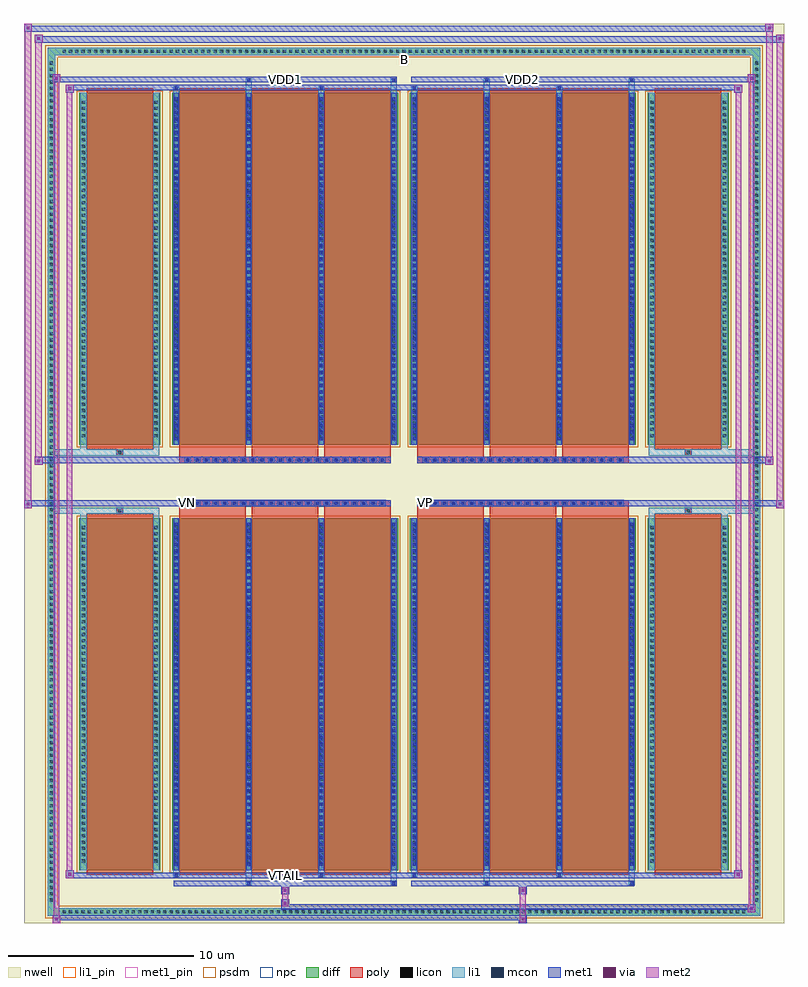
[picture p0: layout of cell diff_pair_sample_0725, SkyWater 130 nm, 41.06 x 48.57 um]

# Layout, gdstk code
import gdstk
lib = gdstk.Library(unit=1e-6, precision=5e-09)
def R(c, l, rs):  # rectangles x0, y0, x1, y1
    for r in rs: c.add(gdstk.rectangle(r[:2], r[2:], *l))
def A(c, l, x, y, w, h, nx, ny, dx, dy):  # array of equal rectangles
    R(c, l, [(x+i*dx, y+j*dy, x+i*dx+w, y+j*dy+h) for i in range(nx) for j in range(ny)])
def P(c, l, *ps):  # polygons
    for p in ps: c.add(gdstk.Polygon(p, *l))
nwell = (64, 20)
diff = (65, 20)
poly = (66, 20)
licon = (66, 44)
li1_pin = (67, 16)
li1 = (67, 20)
mcon = (67, 44)
met1_pin = (68, 16)
met1 = (68, 20)
via = (68, 44)
met2 = (69, 20)
psdm = (94, 20)
npc = (95, 20)

diff_pair_sample_0725 = lib.new_cell('diff_pair_sample_0725')
R(diff_pair_sample_0725, nwell, [(-20.53,-23.85,20.53,24.72), (-17.85,-22.04,-0.01,-0.8), (0.01,-22.04,17.85,-0.8), (-17.85,0.8,-0.01,22.04), (0.01,0.8,17.85,22.04)])
A(diff_pair_sample_0725, diff, -18.565, -23.45, 0.41, 0.41, 109, 2, 0.34, 46.49)
A(diff_pair_sample_0725, diff, -19.26, -22.815, 0.41, 0.41, 1, 134, 0, 0.34)
A(diff_pair_sample_0725, diff, 18.85, -22.815, 0.41, 0.41, 1, 134, 0, 0.34)
R(diff_pair_sample_0725, diff, [(-18.565,-23.45,18.565,-23.04), (-19.26,-22.815,-18.85,22.815), (18.85,-22.815,19.26,22.815), (-17.54,-20.995,-13.17,-1.985), (-12.53,-20.995,-0.32,-1.985), (0.32,-20.995,12.53,-1.985), (13.17,-20.995,17.54,-1.985), (-17.54,1.985,-13.17,20.995), (-12.53,1.985,-0.32,20.995), (0.32,1.985,12.53,20.995), (13.17,1.985,17.54,20.995), (-18.565,23.04,18.565,23.45)])
P(diff_pair_sample_0725, diff, [(19.26,23.45),(-19.26,23.45),(-19.26,-23.04),(-18.85,-23.04),(-18.85,23.04),(18.85,23.04),(18.85,-23.04),(-18.85,-23.04),(-19.26,-23.04),(-19.26,-23.45),(19.26,-23.45)])
A(diff_pair_sample_0725, poly, -12.14, -21.245, 3.59, 19.51, 3, 2, 3.92, 22.98)
A(diff_pair_sample_0725, poly, 0.71, -21.245, 3.59, 19.51, 3, 2, 3.92, 22.98)
A(diff_pair_sample_0725, poly, -12.14, -1.735, 3.59, 0.405, 3, 2, 3.92, 3.065)
A(diff_pair_sample_0725, poly, 0.71, -1.735, 3.59, 0.405, 3, 2, 3.92, 3.065)
A(diff_pair_sample_0725, poly, -11.84, -1.33, 0.33, 0.33, 22, 2, 0.5, 2.33)
A(diff_pair_sample_0725, poly, 1.01, -1.33, 0.33, 0.33, 22, 2, 0.5, 2.33)
R(diff_pair_sample_0725, poly, [(-17.15,-21.245,-13.56,-1.735), (13.56,-21.245,17.15,-1.735), (-15.52,-1.735,-15.19,-1.405), (-15.52,-1.735,-15.19,-1.405), (15.19,-1.735,15.52,-1.405), (15.19,-1.735,15.52,-1.405), (-12.14,-1.33,-0.71,-1), (0.71,-1.33,12.14,-1), (-12.14,1,-0.71,1.33), (0.71,1,12.14,1.33), (-15.52,1.405,-15.19,1.735), (-15.52,1.405,-15.19,1.735), (15.19,1.405,15.52,1.735), (15.19,1.405,15.52,1.735), (-17.15,1.735,-13.56,21.245), (13.56,1.735,17.15,21.245)])
A(diff_pair_sample_0725, licon, -18.445, -23.33, 0.17, 0.17, 109, 2, 0.34, 46.49)
A(diff_pair_sample_0725, licon, -19.14, -22.695, 0.17, 0.17, 1, 134, 0, 0.34)
A(diff_pair_sample_0725, licon, 18.97, -22.695, 0.17, 0.17, 1, 134, 0, 0.34)
A(diff_pair_sample_0725, licon, -17.4, -20.585, 0.17, 0.17, 1, 54, 0, 0.34)
A(diff_pair_sample_0725, licon, -13.48, -20.585, 0.17, 0.17, 1, 54, 0, 0.34)
A(diff_pair_sample_0725, licon, -12.39, -20.585, 0.17, 0.17, 4, 54, 3.92, 0.34)
A(diff_pair_sample_0725, licon, 0.46, -20.585, 0.17, 0.17, 4, 54, 3.92, 0.34)
A(diff_pair_sample_0725, licon, 13.31, -20.585, 0.17, 0.17, 1, 54, 0, 0.34)
A(diff_pair_sample_0725, licon, 17.23, -20.585, 0.17, 0.17, 1, 54, 0, 0.34)
A(diff_pair_sample_0725, licon, -11.76, -1.25, 0.17, 0.17, 22, 2, 0.5, 2.33)
A(diff_pair_sample_0725, licon, 1.09, -1.25, 0.17, 0.17, 22, 2, 0.5, 2.33)
A(diff_pair_sample_0725, licon, -17.4, 2.395, 0.17, 0.17, 1, 54, 0, 0.34)
A(diff_pair_sample_0725, licon, -13.48, 2.395, 0.17, 0.17, 1, 54, 0, 0.34)
A(diff_pair_sample_0725, licon, -12.39, 2.395, 0.17, 0.17, 4, 54, 3.92, 0.34)
A(diff_pair_sample_0725, licon, 0.46, 2.395, 0.17, 0.17, 4, 54, 3.92, 0.34)
A(diff_pair_sample_0725, licon, 13.31, 2.395, 0.17, 0.17, 1, 54, 0, 0.34)
A(diff_pair_sample_0725, licon, 17.23, 2.395, 0.17, 0.17, 1, 54, 0, 0.34)
R(diff_pair_sample_0725, licon, [(-15.44,-1.655,-15.27,-1.485), (15.27,-1.655,15.44,-1.485), (-15.44,1.485,-15.27,1.655), (15.27,1.485,15.44,1.655)])
R(diff_pair_sample_0725, li1_pin, [(-0.25,22.54,0.25,23.04)])
A(diff_pair_sample_0725, li1, -18.525, -23.41, 0.33, 0.33, 109, 2, 0.34, 46.49)
A(diff_pair_sample_0725, li1, -19.22, -22.775, 0.33, 0.33, 1, 134, 0, 0.34)
A(diff_pair_sample_0725, li1, 18.89, -22.775, 0.33, 0.33, 1, 134, 0, 0.34)
A(diff_pair_sample_0725, li1, -12.47, -20.995, 0.33, 19.01, 4, 2, 3.92, 22.98)
A(diff_pair_sample_0725, li1, 0.38, -20.995, 0.33, 19.01, 4, 2, 3.92, 22.98)
A(diff_pair_sample_0725, li1, -12.39, -20.755, 0.17, 0.17, 4, 52, 3.92, 0.36)
A(diff_pair_sample_0725, li1, -12.39, -20.755, 0.17, 18.53, 4, 2, 3.92, 22.98)
A(diff_pair_sample_0725, li1, 0.46, -20.755, 0.17, 0.17, 4, 52, 3.92, 0.36)
A(diff_pair_sample_0725, li1, 0.46, -20.755, 0.17, 18.53, 4, 2, 3.92, 22.98)
A(diff_pair_sample_0725, li1, -17.48, -20.665, 0.33, 0.33, 1, 54, 0, 0.34)
A(diff_pair_sample_0725, li1, -13.56, -20.665, 0.33, 0.33, 1, 54, 0, 0.34)
A(diff_pair_sample_0725, li1, -12.47, -20.665, 0.33, 0.33, 4, 54, 3.92, 0.34)
A(diff_pair_sample_0725, li1, 0.38, -20.665, 0.33, 0.33, 4, 54, 3.92, 0.34)
A(diff_pair_sample_0725, li1, 13.23, -20.665, 0.33, 0.33, 1, 54, 0, 0.34)
A(diff_pair_sample_0725, li1, 17.15, -20.665, 0.33, 0.33, 1, 54, 0, 0.34)
A(diff_pair_sample_0725, li1, -11.84, -1.33, 0.33, 0.33, 22, 2, 0.5, 2.33)
A(diff_pair_sample_0725, li1, 1.01, -1.33, 0.33, 0.33, 22, 2, 0.5, 2.33)
A(diff_pair_sample_0725, li1, -12.39, 2.225, 0.17, 0.17, 4, 52, 3.92, 0.36)
A(diff_pair_sample_0725, li1, 0.46, 2.225, 0.17, 0.17, 4, 52, 3.92, 0.36)
A(diff_pair_sample_0725, li1, -17.48, 2.315, 0.33, 0.33, 1, 54, 0, 0.34)
A(diff_pair_sample_0725, li1, -13.56, 2.315, 0.33, 0.33, 1, 54, 0, 0.34)
A(diff_pair_sample_0725, li1, -12.47, 2.315, 0.33, 0.33, 4, 54, 3.92, 0.34)
A(diff_pair_sample_0725, li1, 0.38, 2.315, 0.33, 0.33, 4, 54, 3.92, 0.34)
A(diff_pair_sample_0725, li1, 13.23, 2.315, 0.33, 0.33, 1, 54, 0, 0.34)
A(diff_pair_sample_0725, li1, 17.15, 2.315, 0.33, 0.33, 1, 54, 0, 0.34)
R(diff_pair_sample_0725, li1, [(-19.26,-23.45,-18.85,-23.04), (-19.26,-23.45,-18.85,-23.04), (-18.85,-23.45,18.85,-23.04), (18.85,-23.45,19.26,-23.04), (18.85,-23.45,19.26,-23.04), (-19.26,-23.04,-18.85,23.04), (18.85,-23.04,19.26,23.04), (-8.55,-21.8,-8.22,-20.995), (-8.47,-21.8,-8.3,-21.63), (-0.71,-21.8,-0.38,-20.995), (-0.63,-21.8,-0.46,-21.63), (4.3,-21.8,4.63,-20.995), (4.38,-21.8,4.55,-21.63), (12.14,-21.8,12.47,-20.995), (12.22,-21.8,12.39,-21.63), (-12.47,-21.37,-12.14,-20.995), (-12.39,-21.37,-12.22,-21.2), (-4.63,-21.37,-4.3,-20.995), (-4.55,-21.37,-4.38,-21.2), (0.38,-21.37,0.71,-20.995), (0.46,-21.37,0.63,-21.2), (8.22,-21.37,8.55,-20.995), (8.3,-21.37,8.47,-21.2), (-17.48,-20.995,-17.15,-1.985), (-13.56,-20.995,-13.23,-1.985), (13.23,-20.995,13.56,-1.985), (17.15,-20.995,17.48,-1.985), (-17.48,-1.985,-17.15,-1.405), (-13.56,-1.985,-13.23,-1.405), (13.23,-1.985,13.56,-1.405), (17.15,-1.985,17.48,-1.405), (-19.26,-1.735,-15.52,-1.405), (-17.48,-1.735,-15.52,-1.405), (-15.52,-1.735,-15.19,-1.405), (-15.19,-1.735,-13.23,-1.405), (13.23,-1.735,15.19,-1.405), (15.19,-1.735,15.52,-1.405), (15.19,-1.735,19.26,-1.405), (15.52,-1.735,17.48,-1.405), (-19.26,1.405,-15.52,1.735), (-17.48,1.405,-15.52,1.735), (-17.48,1.405,-17.15,1.985), (-15.52,1.405,-15.19,1.735), (-15.19,1.405,-13.23,1.735), (-13.56,1.405,-13.23,1.985), (13.23,1.405,15.19,1.735), (13.23,1.405,13.56,1.985), (15.19,1.405,15.52,1.735), (15.19,1.405,19.26,1.735), (15.52,1.405,17.48,1.735), (17.15,1.405,17.48,1.985), (-17.48,1.985,-17.15,20.995), (-13.56,1.985,-13.23,20.995), (13.23,1.985,13.56,20.995), (17.15,1.985,17.48,20.995), (-12.47,20.995,-12.14,21.37), (-8.55,20.995,-8.22,21.8), (-4.63,20.995,-4.3,21.37), (-0.71,20.995,-0.38,21.8), (0.38,20.995,0.71,21.37), (4.3,20.995,4.63,21.8), (8.22,20.995,8.55,21.37), (12.14,20.995,12.47,21.8), (-12.39,21.2,-12.22,21.37), (-4.55,21.2,-4.38,21.37), (0.46,21.2,0.63,21.37), (8.3,21.2,8.47,21.37), (-8.47,21.63,-8.3,21.8), (-0.63,21.63,-0.46,21.8), (4.38,21.63,4.55,21.8), (12.22,21.63,12.39,21.8), (-19.26,23.04,-18.85,23.45), (-19.26,23.04,-18.85,23.45), (-18.85,23.04,18.85,23.45), (18.85,23.04,19.26,23.45), (18.85,23.04,19.26,23.45)])
A(diff_pair_sample_0725, mcon, -12.39, -20.755, 0.17, 0.17, 4, 52, 3.92, 0.36)
A(diff_pair_sample_0725, mcon, 0.46, -20.755, 0.17, 0.17, 4, 52, 3.92, 0.36)
A(diff_pair_sample_0725, mcon, -11.76, -1.25, 0.17, 0.17, 22, 2, 0.5, 2.33)
A(diff_pair_sample_0725, mcon, 1.09, -1.25, 0.17, 0.17, 22, 2, 0.5, 2.33)
A(diff_pair_sample_0725, mcon, -12.39, 2.225, 0.17, 0.17, 4, 52, 3.92, 0.36)
A(diff_pair_sample_0725, mcon, 0.46, 2.225, 0.17, 0.17, 4, 52, 3.92, 0.36)
R(diff_pair_sample_0725, mcon, [(-8.47,-21.8,-8.3,-21.63), (-0.63,-21.8,-0.46,-21.63), (4.38,-21.8,4.55,-21.63), (12.22,-21.8,12.39,-21.63), (-12.39,-21.37,-12.22,-21.2), (-4.55,-21.37,-4.38,-21.2), (0.46,-21.37,0.63,-21.2), (8.3,-21.37,8.47,-21.2), (-12.39,21.2,-12.22,21.37), (-4.55,21.2,-4.38,21.37), (0.46,21.2,0.63,21.37), (8.3,21.2,8.47,21.37), (-8.47,21.63,-8.3,21.8), (-0.63,21.63,-0.46,21.8), (4.38,21.63,4.55,21.8), (12.22,21.63,12.39,21.8)])
R(diff_pair_sample_0725, met1_pin, [(-6.56,-21.41,-6.29,-21.14), (-11.81,-1.29,-11.54,-1.02), (1.04,-1.29,1.31,-1.02), (-6.56,21.59,-6.29,21.86), (6.29,21.59,6.56,21.86)])
A(diff_pair_sample_0725, met1, -12.45, -20.995, 0.29, 19.01, 4, 2, 3.92, 22.98)
A(diff_pair_sample_0725, met1, 0.4, -20.995, 0.29, 19.01, 4, 2, 3.92, 22.98)
A(diff_pair_sample_0725, met1, -12.45, -20.815, 0.29, 0.29, 4, 52, 3.92, 0.36)
A(diff_pair_sample_0725, met1, 0.4, -20.815, 0.29, 0.29, 4, 52, 3.92, 0.36)
A(diff_pair_sample_0725, met1, -11.82, -1.31, 0.29, 0.29, 22, 2, 0.5, 2.33)
A(diff_pair_sample_0725, met1, 1.03, -1.31, 0.29, 0.29, 22, 2, 0.5, 2.33)
A(diff_pair_sample_0725, met1, -12.45, 2.165, 0.29, 0.29, 4, 52, 3.92, 0.36)
A(diff_pair_sample_0725, met1, 0.4, 2.165, 0.29, 0.29, 4, 52, 3.92, 0.36)
R(diff_pair_sample_0725, met1, [(-18.99,-23.85,-18.56,-23.42), (6.21,-23.85,6.64,-23.42), (-18.99,-23.71,6.64,-23.42), (18.56,-23.28,18.99,-22.85), (-6.64,-23.14,18.99,-22.85), (-6.64,-23,-6.21,-22.57), (-6.64,-22.29,-6.21,-21.86), (6.21,-22.29,6.64,-21.86), (-12.45,-21.86,-0.4,-21.57), (-8.53,-21.86,-8.24,-21.57), (-0.69,-21.86,-0.4,-21.57), (0.4,-21.86,12.45,-21.57), (4.32,-21.86,4.61,-21.57), (12.16,-21.86,12.45,-21.57), (-18.28,-21.43,-17.85,-21), (-18.28,-21.43,-12.45,-21.14), (-12.45,-21.43,-12.16,-21.14), (-12.45,-21.43,-0.4,-21.14), (-4.61,-21.43,-4.32,-21.14), (-0.4,-21.43,0.4,-21.14), (0.4,-21.43,0.69,-21.14), (0.4,-21.43,12.45,-21.14), (8.24,-21.43,8.53,-21.14), (12.45,-21.43,18.28,-21.14), (17.85,-21.43,18.28,-21), (-20.53,-1.43,-20.1,-1), (20.1,-1.43,20.53,-1), (-20.53,-1.33,-0.71,-1), (-12.14,-1.33,-0.71,-1), (0.71,-1.33,12.14,-1), (0.71,-1.33,20.53,-1), (-19.96,0.9,-19.53,1.33), (19.53,0.9,19.96,1.33), (-19.96,1,-12.14,1.33), (-12.14,1,-0.71,1.33), (0.71,1,12.14,1.33), (12.14,1,19.96,1.33), (-18.28,21,-17.85,21.43), (17.85,21,18.28,21.43), (-18.28,21.14,-12.45,21.43), (-12.45,21.14,-12.16,21.43), (-12.45,21.14,-0.4,21.43), (-4.61,21.14,-4.32,21.43), (-0.4,21.14,0.4,21.43), (0.4,21.14,0.69,21.43), (0.4,21.14,12.45,21.43), (8.24,21.14,8.53,21.43), (12.45,21.14,18.28,21.43), (-18.99,21.57,-18.56,22), (-18.99,21.57,-12.45,21.86), (-12.45,21.57,-0.4,21.86), (-8.53,21.57,-8.24,21.86), (-0.69,21.57,-0.4,21.86), (0.4,21.57,12.45,21.86), (4.32,21.57,4.61,21.86), (12.16,21.57,12.45,21.86), (12.45,21.57,18.99,21.86), (18.56,21.57,18.99,22), (-19.96,23.72,-19.53,24.15), (-19.96,23.72,-17.85,24.05), (-17.85,23.72,17.85,24.05), (17.85,23.72,20.53,24.05), (20.1,23.72,20.53,24.15), (-20.53,24.29,-20.1,24.72), (-20.53,24.29,-17.85,24.62), (-17.85,24.29,17.85,24.62), (17.85,24.29,19.96,24.62), (19.53,24.29,19.96,24.72)])
R(diff_pair_sample_0725, via, [(-18.85,-23.71,-18.7,-23.56), (6.35,-23.71,6.5,-23.56), (18.7,-23.14,18.85,-22.99), (-6.5,-22.86,-6.35,-22.71), (-6.5,-22.15,-6.35,-22), (6.35,-22.15,6.5,-22), (-18.14,-21.29,-17.99,-21.14), (17.99,-21.29,18.14,-21.14), (-20.39,-1.29,-20.24,-1.14), (20.24,-1.29,20.39,-1.14), (-19.82,1.04,-19.67,1.19), (19.67,1.04,19.82,1.19), (-18.14,21.14,-17.99,21.29), (17.99,21.14,18.14,21.29), (-18.85,21.71,-18.7,21.86), (18.7,21.71,18.85,21.86), (-19.82,23.86,-19.67,24.01), (20.24,23.86,20.39,24.01), (-20.39,24.43,-20.24,24.58), (19.67,24.43,19.82,24.58)])
R(diff_pair_sample_0725, met2, [(-18.99,-23.85,-18.56,-23.42), (-18.92,-23.85,-18.63,22), (-18.63,-23.85,-18.56,-23.42), (-18.94,-23.8,-18.61,-23.47), (6.26,-23.8,6.59,-23.47), (6.26,-23.47,6.59,-22.24), (18.56,-23.28,18.99,-22.85), (18.63,-23.28,18.92,22), (18.92,-23.28,18.99,-22.85), (18.61,-23.23,18.94,-22.9), (-6.59,-22.95,-6.26,-22.62), (-6.59,-22.62,-6.26,-22.24), (-6.59,-22.24,-6.26,-21.91), (6.26,-22.24,6.59,-21.91), (-18.28,-21.43,-17.85,-21), (-18.21,-21.43,-17.92,21.43), (-17.92,-21.43,-17.85,-21), (17.85,-21.43,18.28,-21), (17.92,-21.43,18.21,21.43), (18.21,-21.43,18.28,-21), (-18.23,-21.38,-17.9,-21.05), (17.9,-21.38,18.23,-21.05), (-20.53,-1.43,-20.1,-1), (-20.48,-1.43,-20.15,24.72), (-20.15,-1.43,-20.1,-1), (20.1,-1.43,20.53,-1), (20.15,-1.43,20.48,24.15), (20.48,-1.43,20.53,-1), (-20.48,-1.38,-20.15,-1.05), (20.15,-1.38,20.48,-1.05), (-19.96,0.9,-19.53,1.33), (-19.91,0.9,-19.58,24.15), (-19.58,0.9,-19.53,1.33), (19.53,0.9,19.96,1.33), (19.58,0.9,19.91,24.72), (19.91,0.9,19.96,1.33), (-19.91,0.95,-19.58,1.28), (19.58,0.95,19.91,1.28), (-18.28,21,-17.85,21.43), (-17.92,21,-17.85,21.43), (17.85,21,18.28,21.43), (18.21,21,18.28,21.43), (-18.23,21.05,-17.9,21.38), (17.9,21.05,18.23,21.38), (-18.99,21.57,-18.56,22), (-18.63,21.57,-18.56,22), (18.56,21.57,18.99,22), (18.92,21.57,18.99,22), (-18.94,21.62,-18.61,21.95), (18.61,21.62,18.94,21.95), (-19.96,23.72,-19.53,24.15), (-19.58,23.72,-19.53,24.15), (20.1,23.72,20.53,24.15), (20.48,23.72,20.53,24.15), (-19.91,23.77,-19.58,24.1), (20.15,23.77,20.48,24.1), (-20.53,24.29,-20.1,24.72), (-20.15,24.29,-20.1,24.72), (19.53,24.29,19.96,24.72), (19.91,24.29,19.96,24.72), (-20.48,24.34,-20.15,24.67), (19.58,24.34,19.91,24.67)])
R(diff_pair_sample_0725, psdm, [(-17.67,-21.125,-13.04,-1.855), (-12.66,-21.125,-0.19,-1.855), (0.19,-21.125,12.66,-1.855), (13.04,-21.125,17.67,-1.855), (-17.67,1.855,-13.04,21.125), (-12.66,1.855,-0.19,21.125), (0.19,1.855,12.66,21.125), (13.04,1.855,17.67,21.125)])
P(diff_pair_sample_0725, psdm, [(19.39,23.58),(-19.39,23.58),(-19.39,-22.91),(-18.72,-22.91),(-18.72,22.91),(18.72,22.91),(18.72,-22.91),(-18.72,-22.91),(-19.39,-22.91),(-19.39,-23.58),(19.39,-23.58)])
A(diff_pair_sample_0725, npc, -11.86, -1.35, 0.37, 0.37, 22, 2, 0.5, 2.33)
A(diff_pair_sample_0725, npc, 0.99, -1.35, 0.37, 0.37, 22, 2, 0.5, 2.33)
R(diff_pair_sample_0725, npc, [(-15.54,-1.755,-15.17,-1.385), (15.17,-1.755,15.54,-1.385), (-11.86,-1.35,-10.99,-0.98), (-11.86,-1.35,-10.99,-0.98), (-11.36,-1.35,-10.49,-0.98), (-11.36,-1.35,-10.49,-0.98), (-10.86,-1.35,-9.99,-0.98), (-10.86,-1.35,-9.99,-0.98), (-10.36,-1.35,-9.49,-0.98), (-10.36,-1.35,-9.49,-0.98), (-9.86,-1.35,-8.99,-0.98), (-9.86,-1.35,-8.99,-0.98), (-9.36,-1.35,-8.49,-0.98), (-9.36,-1.35,-8.49,-0.98), (-8.86,-1.35,-7.99,-0.98), (-8.86,-1.35,-7.99,-0.98), (-8.36,-1.35,-7.49,-0.98), (-8.36,-1.35,-7.49,-0.98), (-7.86,-1.35,-6.99,-0.98), (-7.86,-1.35,-6.99,-0.98), (-7.36,-1.35,-6.49,-0.98), (-7.36,-1.35,-6.49,-0.98), (-6.86,-1.35,-5.99,-0.98), (-6.86,-1.35,-5.99,-0.98), (-6.36,-1.35,-5.49,-0.98), (-6.36,-1.35,-5.49,-0.98), (-5.86,-1.35,-4.99,-0.98), (-5.86,-1.35,-4.99,-0.98), (-5.36,-1.35,-4.49,-0.98), (-5.36,-1.35,-4.49,-0.98), (-4.86,-1.35,-3.99,-0.98), (-4.86,-1.35,-3.99,-0.98), (-4.36,-1.35,-3.49,-0.98), (-4.36,-1.35,-3.49,-0.98), (-3.86,-1.35,-2.99,-0.98), (-3.86,-1.35,-2.99,-0.98), (-3.36,-1.35,-2.49,-0.98), (-3.36,-1.35,-2.49,-0.98), (-2.86,-1.35,-1.99,-0.98), (-2.86,-1.35,-1.99,-0.98), (-2.36,-1.35,-1.49,-0.98), (-2.36,-1.35,-1.49,-0.98), (-1.86,-1.35,-0.99,-0.98), (-1.86,-1.35,-0.99,-0.98), (0.99,-1.35,1.86,-0.98), (0.99,-1.35,1.86,-0.98), (1.49,-1.35,2.36,-0.98), (1.49,-1.35,2.36,-0.98), (1.99,-1.35,2.86,-0.98), (1.99,-1.35,2.86,-0.98), (2.49,-1.35,3.36,-0.98), (2.49,-1.35,3.36,-0.98), (2.99,-1.35,3.86,-0.98), (2.99,-1.35,3.86,-0.98), (3.49,-1.35,4.36,-0.98), (3.49,-1.35,4.36,-0.98), (3.99,-1.35,4.86,-0.98), (3.99,-1.35,4.86,-0.98), (4.49,-1.35,5.36,-0.98), (4.49,-1.35,5.36,-0.98), (4.99,-1.35,5.86,-0.98), (4.99,-1.35,5.86,-0.98), (5.49,-1.35,6.36,-0.98), (5.49,-1.35,6.36,-0.98), (5.99,-1.35,6.86,-0.98), (5.99,-1.35,6.86,-0.98), (6.49,-1.35,7.36,-0.98), (6.49,-1.35,7.36,-0.98), (6.99,-1.35,7.86,-0.98), (6.99,-1.35,7.86,-0.98), (7.49,-1.35,8.36,-0.98), (7.49,-1.35,8.36,-0.98), (7.99,-1.35,8.86,-0.98), (7.99,-1.35,8.86,-0.98), (8.49,-1.35,9.36,-0.98), (8.49,-1.35,9.36,-0.98), (8.99,-1.35,9.86,-0.98), (8.99,-1.35,9.86,-0.98), (9.49,-1.35,10.36,-0.98), (9.49,-1.35,10.36,-0.98), (9.99,-1.35,10.86,-0.98), (9.99,-1.35,10.86,-0.98), (10.49,-1.35,11.36,-0.98), (10.49,-1.35,11.36,-0.98), (10.99,-1.35,11.86,-0.98), (10.99,-1.35,11.86,-0.98), (-11.86,0.98,-10.99,1.35), (-11.86,0.98,-10.99,1.35), (-11.36,0.98,-10.49,1.35), (-11.36,0.98,-10.49,1.35), (-10.86,0.98,-9.99,1.35), (-10.86,0.98,-9.99,1.35), (-10.36,0.98,-9.49,1.35), (-10.36,0.98,-9.49,1.35), (-9.86,0.98,-8.99,1.35), (-9.86,0.98,-8.99,1.35), (-9.36,0.98,-8.49,1.35), (-9.36,0.98,-8.49,1.35), (-8.86,0.98,-7.99,1.35), (-8.86,0.98,-7.99,1.35), (-8.36,0.98,-7.49,1.35), (-8.36,0.98,-7.49,1.35), (-7.86,0.98,-6.99,1.35), (-7.86,0.98,-6.99,1.35), (-7.36,0.98,-6.49,1.35), (-7.36,0.98,-6.49,1.35), (-6.86,0.98,-5.99,1.35), (-6.86,0.98,-5.99,1.35), (-6.36,0.98,-5.49,1.35), (-6.36,0.98,-5.49,1.35), (-5.86,0.98,-4.99,1.35), (-5.86,0.98,-4.99,1.35), (-5.36,0.98,-4.49,1.35), (-5.36,0.98,-4.49,1.35), (-4.86,0.98,-3.99,1.35), (-4.86,0.98,-3.99,1.35), (-4.36,0.98,-3.49,1.35), (-4.36,0.98,-3.49,1.35), (-3.86,0.98,-2.99,1.35), (-3.86,0.98,-2.99,1.35), (-3.36,0.98,-2.49,1.35), (-3.36,0.98,-2.49,1.35), (-2.86,0.98,-1.99,1.35), (-2.86,0.98,-1.99,1.35), (-2.36,0.98,-1.49,1.35), (-2.36,0.98,-1.49,1.35), (-1.86,0.98,-0.99,1.35), (-1.86,0.98,-0.99,1.35), (0.99,0.98,1.86,1.35), (0.99,0.98,1.86,1.35), (1.49,0.98,2.36,1.35), (1.49,0.98,2.36,1.35), (1.99,0.98,2.86,1.35), (1.99,0.98,2.86,1.35), (2.49,0.98,3.36,1.35), (2.49,0.98,3.36,1.35), (2.99,0.98,3.86,1.35), (2.99,0.98,3.86,1.35), (3.49,0.98,4.36,1.35), (3.49,0.98,4.36,1.35), (3.99,0.98,4.86,1.35), (3.99,0.98,4.86,1.35), (4.49,0.98,5.36,1.35), (4.49,0.98,5.36,1.35), (4.99,0.98,5.86,1.35), (4.99,0.98,5.86,1.35), (5.49,0.98,6.36,1.35), (5.49,0.98,6.36,1.35), (5.99,0.98,6.86,1.35), (5.99,0.98,6.86,1.35), (6.49,0.98,7.36,1.35), (6.49,0.98,7.36,1.35), (6.99,0.98,7.86,1.35), (6.99,0.98,7.86,1.35), (7.49,0.98,8.36,1.35), (7.49,0.98,8.36,1.35), (7.99,0.98,8.86,1.35), (7.99,0.98,8.86,1.35), (8.49,0.98,9.36,1.35), (8.49,0.98,9.36,1.35), (8.99,0.98,9.86,1.35), (8.99,0.98,9.86,1.35), (9.49,0.98,10.36,1.35), (9.49,0.98,10.36,1.35), (9.99,0.98,10.86,1.35), (9.99,0.98,10.86,1.35), (10.49,0.98,11.36,1.35), (10.49,0.98,11.36,1.35), (10.99,0.98,11.86,1.35), (10.99,0.98,11.86,1.35), (-15.54,1.385,-15.17,1.755), (15.17,1.385,15.54,1.755)])
diff_pair_sample_0725.add(gdstk.Label('VTAIL', (-6.425,-21.275), layer=68, texttype=5))
diff_pair_sample_0725.add(gdstk.Label('VN', (-11.675,-1.155), layer=68, texttype=5))
diff_pair_sample_0725.add(gdstk.Label('VP', (1.175,-1.155), layer=68, texttype=5))
diff_pair_sample_0725.add(gdstk.Label('B', (0,22.79), layer=67, texttype=5))
diff_pair_sample_0725.add(gdstk.Label('VDD2', (6.425,21.725), layer=68, texttype=5))
diff_pair_sample_0725.add(gdstk.Label('VDD1', (-6.425,21.725), layer=68, texttype=5))

lib.write_gds('diff_pair_sample_0725.gds')
